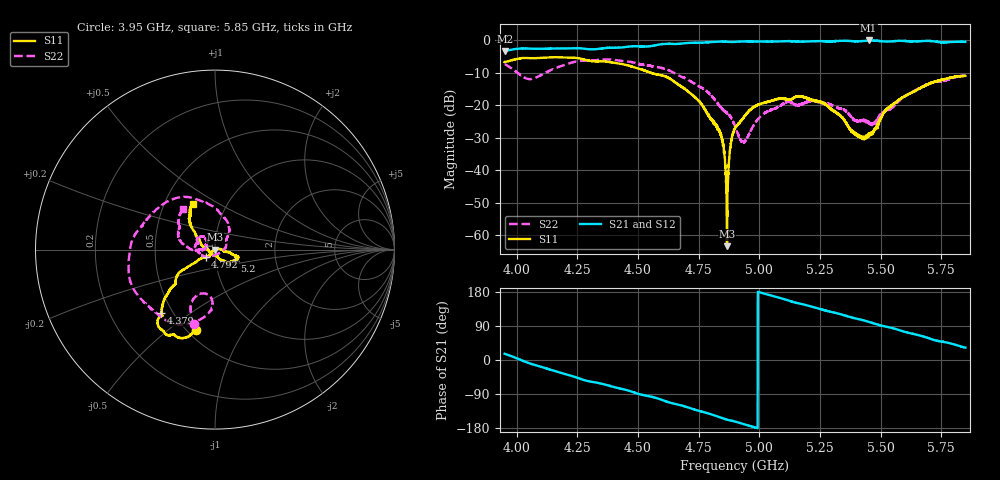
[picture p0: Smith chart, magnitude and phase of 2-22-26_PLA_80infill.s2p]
# GHZ S RI R 50.000000000000
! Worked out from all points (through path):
!   4501 points, 3.95 GHz to 5.85 GHz, reference 50 ohm
!   highest |S21| = -0.12 dB at 5.451 GHz (marker M1); lowest = -3.3 dB at 3.952 GHz (marker M2)
!   group delay of S21, straight-line fit = 497 ps
!   lowest |S11| = -63.4 dB at 4.867 GHz (marker M3), VSWR 1.00, Z = 50 + j0.0485 ohm
!   |S11| at or under -10 dB: 4.549505 GHz to 4.54961 GHz (104.4 kHz wide, 0.00229 % of centre); 4.551 GHz to end of sweep
!   |S22| runs from -31.5 to -5.9 dB; largest |S21 - S12| = 0.034
!   S11 on the Smith chart (normalised r, x): 3.95 GHz: 0.56, -0.63; 4.379 GHz: 0.43, -0.39; 4.792 GHz: 0.90, -0.08; 5.2 GHz: 1.24, -0.16; 5.85 GHz: 0.69, +0.38
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3.95  -0.1044 -0.4462  0.6543 0.1938  0.6406 0.1948  -0.1146 -0.4135
3.952111  -0.1099 -0.4472  0.6546 0.1872  0.6423 0.1925  -0.1217 -0.4064
4.0564  -0.2243 -0.4775  0.7288 -0.1222  0.7422 -0.1101  -0.0509 -0.2459
4.145489  -0.2621 -0.4762  0.662 -0.3369  0.6559 -0.3323  -0.033 -0.3507
4.267089  -0.3194 -0.4039  0.4725 -0.5752  0.4869 -0.5787  -0.2723 -0.3944
4.378556  -0.2985 -0.3525  0.2918 -0.6995  0.3029 -0.6899  -0.4676 -0.1865
4.583756  -0.2213 -0.1921  -0.1741 -0.8311  -0.1584 -0.8335  -0.2815 0.2582
4.706622  -0.1369 -0.086  -0.5218 -0.7365  -0.5094 -0.7414  -0.0186 0.2441
4.791911  -0.0525 -0.0422  -0.7254 -0.5773  -0.7179 -0.586  0.0752 0.1322
4.843844  -0.0257 -0.0208  -0.841 -0.436  -0.8378 -0.4487  0.0661 0.064
4.867067  -0.000472 0.000485  -0.8687 -0.3629  -0.8687 -0.3735  0.0633 0.042
4.8734  0.0115 0.00331  -0.8768 -0.3445  -0.8685 -0.3562  0.0623 0.0348
4.883956  0.0272 0.00398  -0.8785 -0.3193  -0.8768 -0.3259  0.0604 0.0201
4.9  0.0437 -0.00397  -0.8953 -0.2846  -0.8924 -0.2916  0.0471 -0.00414
4.935889  0.0635 -0.0131  -0.9328 -0.1798  -0.9304 -0.1942  0.00804 -0.026
5.028356  0.1066 -0.0309  -0.9436 0.1019  -0.9441 0.0854  -0.0704 -0.0329
5.2002  0.1109 -0.0644  -0.7648 0.5637  -0.7703 0.5548  -0.0979 0.0542
5.217089  0.1002 -0.063  -0.7405 0.606  -0.7512 0.5883  -0.0978 0.0627
5.451  -0.0359 -0.00703  -0.1823 0.9697  -0.2041 0.9548  -0.0488 0.0198
5.533756  -0.0816 0.0395  0.0579 0.9499  0.0447 0.9524  -0.0848 0.00127
5.693778  -0.1391 0.1519  0.509 0.8273  0.49 0.8375  -0.1997 0.0629
5.85  -0.1235 0.2538  0.7896 0.5057  0.7786 0.5165  -0.1785 0.2245
